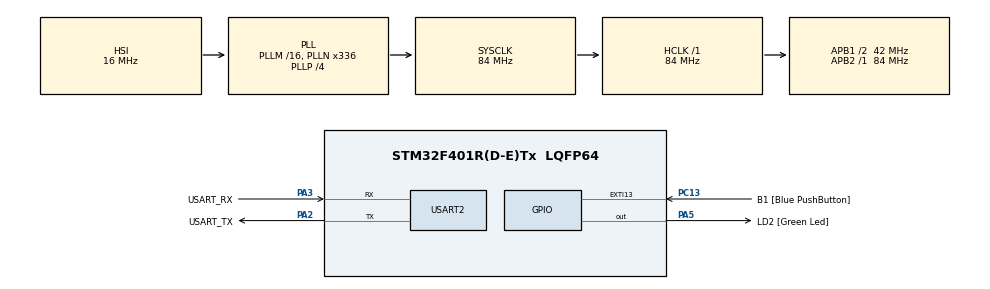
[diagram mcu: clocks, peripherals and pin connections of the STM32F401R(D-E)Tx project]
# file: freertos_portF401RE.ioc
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FREERTOS.Tasks01=defaultTask,0,128,StartDefaultTask,Default,NULL,Dynamic,NULL,NULL
FREERTOS.configMAX_PRIORITIES=20
Mcu.Family=STM32F4
Mcu.Name=STM32F401R(D-E)Tx
Mcu.Package=LQFP64
NVIC.EXTI15_10_IRQn=true\:5\:0\:false\:false\:true\:true\:true\:true\:true
NVIC.PriorityGroup=NVIC_PRIORITYGROUP_4
PA13.GPIO_Label=TMS
PA13.Mode=Serial_Wire
PA13.Signal=SYS_JTMS-SWDIO
PA14.GPIO_Label=TCK
PA14.Mode=Serial_Wire
PA14.Signal=SYS_JTCK-SWCLK
PA2.GPIO_Label=USART_TX
PA2.GPIO_Mode=GPIO_MODE_AF_PP
PA2.GPIO_PuPd=GPIO_NOPULL
PA2.GPIO_Speed=GPIO_SPEED_FREQ_LOW
PA2.Mode=Asynchronous
PA2.Signal=USART2_TX
PA3.GPIO_Label=USART_RX
PA3.GPIO_Mode=GPIO_MODE_AF_PP
PA3.GPIO_PuPd=GPIO_NOPULL
PA3.GPIO_Speed=GPIO_SPEED_FREQ_LOW
PA3.Mode=Asynchronous
PA3.Signal=USART2_RX
PA5.GPIO_Label=LD2 [Green Led]
PA5.GPIO_Mode=GPIO_MODE_OUTPUT_PP
PA5.GPIO_PuPd=GPIO_NOPULL
PA5.GPIO_Speed=GPIO_SPEED_FREQ_LOW
PA5.Signal=GPIO_Output
PB3.GPIO_Label=SWO
PB3.Signal=SYS_JTDO-SWO
PC13-ANTI_TAMP.GPIO_Label=B1 [Blue PushButton]
PC13-ANTI_TAMP.GPIO_ModeDefaultEXTI=GPIO_MODE_IT_FALLING
PC13-ANTI_TAMP.GPIO_PuPd=GPIO_NOPULL
PC13-ANTI_TAMP.Signal=GPXTI13
PC14-OSC32_IN.Mode=LSE-External-Oscillator
PC14-OSC32_IN.Signal=RCC_OSC32_IN
PC15-OSC32_OUT.Mode=LSE-External-Oscillator
PC15-OSC32_OUT.Signal=RCC_OSC32_OUT
PH0\ -\ OSC_IN.Mode=HSE-External-Clock-Source
PH0\ -\ OSC_IN.Signal=RCC_OSC_IN
PH1\ -\ OSC_OUT.Mode=HSE-External-Clock-Source
PH1\ -\ OSC_OUT.Signal=RCC_OSC_OUT
ProjectManager.HeapSize=0x200
ProjectManager.StackSize=0x400
ProjectManager.TargetToolchain=STM32CubeIDE
RCC.48MHZClocksFreq_Value=48000000
RCC.AHBFreq_Value=84000000
RCC.APB1CLKDivider=RCC_HCLK_DIV2
RCC.APB1Freq_Value=42000000
RCC.APB1TimFreq_Value=84000000
RCC.APB2Freq_Value=84000000
RCC.APB2TimFreq_Value=84000000
RCC.CortexFreq_Value=84000000
RCC.HCLKFreq_Value=84000000
RCC.HSE_VALUE=8000000
RCC.HSI_VALUE=16000000
RCC.PLLN=336
RCC.PLLP=RCC_PLLP_DIV4
RCC.PLLQ=7
RCC.SYSCLKFreq_VALUE=84000000
RCC.SYSCLKSource=RCC_SYSCLKSOURCE_PLLCLK
RCC.VCOOutputFreq_Value=336000000
USART2.VirtualMode=VM_ASYNC
VP_FREERTOS_VS_CMSIS_V1.Mode=CMSIS_V1
board=NUCLEO-F401RE

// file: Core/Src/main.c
/* USER CODE BEGIN Header */
/**
  ******************************************************************************
  * @file           : main.c
  * @brief          : Main program body
  ******************************************************************************
  * @attention
  *
  * Copyright (c) 2022 STMicroelectronics.
  * All rights reserved.
  *
  * This software is licensed under terms that can be found in the LICENSE file
  * in the root directory of this software component.
  * If no LICENSE file comes with this software, it is provided AS-IS.
  *
  ******************************************************************************
  */
/* USER CODE END Header */
#include "main.h"
#include "cmsis_os.h"

/* USER CODE BEGIN Includes */
#include <stdio.h>
/* USER CODE END Includes */

UART_HandleTypeDef huart2;

osThreadId defaultTaskHandle;

void SystemClock_Config(void);
static void MX_GPIO_Init(void);
static void MX_USART2_UART_Init(void);
void StartDefaultTask(void const * argument);

/* USER CODE BEGIN PFP */
void USER_THREADS( void );
void freertos_IntroTitle(void);
/* USER CODE END PFP */

/* USER CODE BEGIN 0 */
int __io_putchar(int ch)
{
 if ( ch == '\n' )
	 HAL_UART_Transmit(&huart2, (uint8_t*)&"\r", 1, HAL_MAX_DELAY);
 HAL_UART_Transmit(&huart2, (uint8_t*)&ch, 1, HAL_MAX_DELAY);
 return ch;
}
/* USER CODE END 0 */

int main(void)
{

  /* MCU Configuration--------------------------------------------------------*/

  /* Reset of all peripherals, Initializes the Flash interface and the Systick. */
  HAL_Init();

  /* Configure the system clock */
  SystemClock_Config();

  /* Initialize all configured peripherals */
  MX_GPIO_Init();
  MX_USART2_UART_Init();
  /* USER CODE BEGIN 2 */
  /* display a freeRTOS Intro */
  freertos_IntroTitle();

  // 즉시 printf �? ?��?��?��?�� ?��?���? stdout buffer size�? 0?���? 만들?���??��.
  //setvbuf(stdout, NULL, _IONBF, 0);
  printf("[TASK]main\n");
  fflush(stdout);
  /* USER CODE END 2 */

  /* Create the thread(s) */
  /* definition and creation of defaultTask */
  osThreadDef(defaultTask, StartDefaultTask, osPriorityNormal, 0, 128);
  defaultTaskHandle = osThreadCreate(osThread(defaultTask), NULL);

  /* USER CODE BEGIN RTOS_THREADS */
  //USER_THREADS();
  /* USER CODE END RTOS_THREADS */

  /* Start scheduler */
  osKernelStart();

  /* We should never get here as control is now taken by the scheduler */
  /* Infinite loop */
  while (1)
  {

  }
}

void SystemClock_Config(void)
{
  RCC_OscInitTypeDef RCC_OscInitStruct = {0};
  RCC_ClkInitTypeDef RCC_ClkInitStruct = {0};

  /** Configure the main internal regulator output voltage
  */
  __HAL_RCC_PWR_CLK_ENABLE();
  __HAL_PWR_VOLTAGESCALING_CONFIG(PWR_REGULATOR_VOLTAGE_SCALE2);

  /** Initializes the RCC Oscillators according to the specified parameters
  * in the RCC_OscInitTypeDef structure.
  */
  RCC_OscInitStruct.OscillatorType = RCC_OSCILLATORTYPE_HSI;
  RCC_OscInitStruct.HSIState = RCC_HSI_ON;
  RCC_OscInitStruct.HSICalibrationValue = RCC_HSICALIBRATION_DEFAULT;
  RCC_OscInitStruct.PLL.PLLState = RCC_PLL_ON;
  RCC_OscInitStruct.PLL.PLLSource = RCC_PLLSOURCE_HSI;
  RCC_OscInitStruct.PLL.PLLM = 16;
  RCC_OscInitStruct.PLL.PLLN = 336;
  RCC_OscInitStruct.PLL.PLLP = RCC_PLLP_DIV4;
  RCC_OscInitStruct.PLL.PLLQ = 7;
  if (HAL_RCC_OscConfig(&RCC_OscInitStruct) != HAL_OK)
  {
    Error_Handler();
  }

  /** Initializes the CPU, AHB and APB buses clocks
  */
  RCC_ClkInitStruct.ClockType = RCC_CLOCKTYPE_HCLK|RCC_CLOCKTYPE_SYSCLK
                              |RCC_CLOCKTYPE_PCLK1|RCC_CLOCKTYPE_PCLK2;
  RCC_ClkInitStruct.SYSCLKSource = RCC_SYSCLKSOURCE_PLLCLK;
  RCC_ClkInitStruct.AHBCLKDivider = RCC_SYSCLK_DIV1;
  RCC_ClkInitStruct.APB1CLKDivider = RCC_HCLK_DIV2;
  RCC_ClkInitStruct.APB2CLKDivider = RCC_HCLK_DIV1;

  if (HAL_RCC_ClockConfig(&RCC_ClkInitStruct, FLASH_LATENCY_2) != HAL_OK)
  {
    Error_Handler();
  }
}

static void MX_USART2_UART_Init(void)
{

  huart2.Instance = USART2;
  huart2.Init.BaudRate = 115200;
  huart2.Init.WordLength = UART_WORDLENGTH_8B;
  huart2.Init.StopBits = UART_STOPBITS_1;
  huart2.Init.Parity = UART_PARITY_NONE;
  huart2.Init.Mode = UART_MODE_TX_RX;
  huart2.Init.HwFlowCtl = UART_HWCONTROL_NONE;
  huart2.Init.OverSampling = UART_OVERSAMPLING_16;
  if (HAL_UART_Init(&huart2) != HAL_OK)
  {
    Error_Handler();
  }

}

static void MX_GPIO_Init(void)
{
  GPIO_InitTypeDef GPIO_InitStruct = {0};

  /* GPIO Ports Clock Enable */
  __HAL_RCC_GPIOC_CLK_ENABLE();
  __HAL_RCC_GPIOH_CLK_ENABLE();
  __HAL_RCC_GPIOA_CLK_ENABLE();
  __HAL_RCC_GPIOB_CLK_ENABLE();

  /*Configure GPIO pin Output Level */
  HAL_GPIO_WritePin(LD2_GPIO_Port, LD2_Pin, GPIO_PIN_RESET);

  /*Configure GPIO pin : B1_Pin */
  GPIO_InitStruct.Pin = B1_Pin;
  GPIO_InitStruct.Mode = GPIO_MODE_IT_FALLING;
  GPIO_InitStruct.Pull = GPIO_NOPULL;
  HAL_GPIO_Init(B1_GPIO_Port, &GPIO_InitStruct);

  /*Configure GPIO pin : LD2_Pin */
  GPIO_InitStruct.Pin = LD2_Pin;
  GPIO_InitStruct.Mode = GPIO_MODE_OUTPUT_PP;
  GPIO_InitStruct.Pull = GPIO_NOPULL;
  GPIO_InitStruct.Speed = GPIO_SPEED_FREQ_LOW;
  HAL_GPIO_Init(LD2_GPIO_Port, &GPIO_InitStruct);

  /* EXTI interrupt init*/
  HAL_NVIC_SetPriority(EXTI15_10_IRQn, 5, 0);
  HAL_NVIC_EnableIRQ(EXTI15_10_IRQn);

}

/* USER CODE BEGIN 4 */
// version of this freertos
char* OSVersion(void)
{
	return tskKERNEL_VERSION_NUMBER;
}

//
// 'freertos_IntroTitle'
//
void freertos_IntroTitle(void)
{
  printf("]]]]]]]]]]]]]]]]]]]]]]]]]]]]]]]]]]]]]]]]]]]]]]]]]]]]]]]]]]]]] \n");
  printf("]]]]]]]]]]]]]]]]]]]]]]]]]]]]]]]]]]]]]]]]]]]]]]]]]]]]]]]]]]]]                     \n");
  printf("]]]]]]]]]]]]]]]]]]]]]]]]]]]]]]]]]]]]]]]]]]]]]]]]]]]]]]]]]]]                      \n");
  printf("]        ]]]]]]]]]]]]]]]]]]]]]]]]]]]]]]]]      :]]]        ]   .]]]].    :]]]]:  \n");
  printf("]        ]]]]]]]]]]]]]]]]]]]]]]]]]]]]]]]]       ]]]       ]]   ]]]]]]   :]]]]]]  \n");
  printf("]  ]]]]]]]]]]]]]]]]]]]]]]]]]]]]]]]]]]]]]]  ]]]:  ]]]]]        :]]  ]]:  ]]:  :]  \n");
  printf("]  ]]]]]]]]]  .    ]]].    :]]]].    :]]]  ]]]]  ]]]]]  ]     ]]:  :]]  ]]       \n");
  printf("]  ]]]]]]]]]       ]].      :]].      :]]  ]]]:  ]]]]] ]]     ]]    ]]  ]]]:     \n");
  printf("]       ]]]]   .]]]]]  :]]:  ]]  :]]:  ]]       :]]]]  ]]     ]]    ]]  :]]]]]:  \n");
  printf("]       ]]]]  ]]]]]]]        ]]        ]]      ]]]]]   ]]     ]]    ]]   .]]]]]: \n");
  printf("]  ]]]]]]]]]  ]]]]]]]        ]]        ]]  ]]]  .]]    ]]     ]]    ]]      :]]] \n");
  printf("]  ]]]]]]]]]  ]]]]]]]  ]]]]]]]]  ]]]]]]]]  ]]]  ]]     ]]     ]]:  :]]        ]] \n");
  printf("]  ]]]]]]]]]  ]]]]]]]   .]]: ]]   .]]: ]]  ]]]:        ]]     :]]  ]]:  ]:.  :]] \n");
  printf("]  ]]]]]]]]]  ]]]]]]].       ]].       ]]  ]]]]  ]:    ]]      ]]]]]]   ]]]]]]]: \n");
  printf("]  ]]]]]]]]]  ]]]]]]]].     :]]].     :]]  ]]]] ]]]    ]]      .]]]].   .]]]]]:  \n");
  printf("]]]]]]]]]]]]]]]]]]]]]]]]]]]]]]]]]]]]]]]]]]]]]]                                   \n");
  printf("]]]]]]]]]]]]]]]]]]]]]]]]]]]]]]]]]]]]]]]]]]]]]                                    \n");
  printf("]]]]]]]]]]]]]]]]]]]]]]]]]]]]]]]]]]]]]]]]]]]]   The Real Time Kernel \n");
  printf("]]]]]]]]]]]]]]]]]]]]]]]]]]]]]]]]]]]]]]]]]]]\n");
  printf("]]]]]]]]]]]]]]]]]]]]]]]]]]]]]]]]]]]]]]]]]]     FreeRTOS version %s\n", OSVersion());
  printf("]]]]]]]]]]]]]]]]]]]]]]]]]]]]]]]]]]]]]]]]]\n");
  printf("]]]]]]]]]]]]]]]]]]]]]]]]]]]]]]]]]]]]]]]]   Copyright guileschool.com\n");
}

void vAssertCalled( const char *pcFile, unsigned int ulLine )
{
  taskDISABLE_INTERRUPTS();
  printf("\n\nAssertion failed in %s:%d\n", pcFile, ulLine); for(;;);
}
/* USER CODE END 4 */

void StartDefaultTask(void const * argument)
{
  /* USER CODE BEGIN 5 */
	printf("[TASK]StartDefaultTask\n");
	fflush(stdout);
  /* Infinite loop */
  for(;;)
  {
    osDelay(1);
  }
  /* USER CODE END 5 */
}

void Error_Handler(void)
{
  __disable_irq();
  while (1)
  {
  }
}
